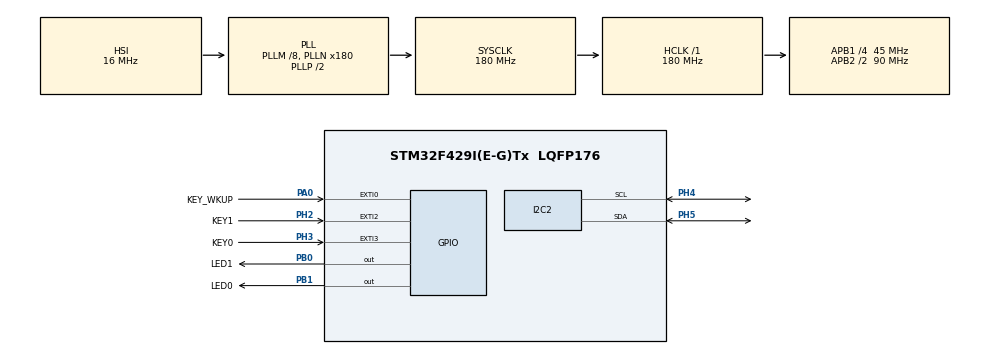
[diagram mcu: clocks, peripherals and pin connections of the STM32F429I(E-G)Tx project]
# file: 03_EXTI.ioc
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Mcu.Family=STM32F4
Mcu.Name=STM32F429I(E-G)Tx
Mcu.Package=LQFP176
NVIC.EXTI0_IRQn=true\:2\:0\:true\:false\:true\:true\:true\:true
NVIC.EXTI2_IRQn=true\:2\:0\:true\:false\:true\:true\:true\:true
NVIC.EXTI3_IRQn=true\:2\:0\:true\:false\:true\:true\:true\:true
NVIC.PriorityGroup=NVIC_PRIORITYGROUP_4
PA0/WKUP.GPIO_Label=KEY_WKUP
PA0/WKUP.GPIO_ModeDefaultEXTI=GPIO_MODE_IT_RISING
PA0/WKUP.GPIO_PuPd=GPIO_PULLDOWN
PA0/WKUP.Signal=GPXTI0
PA13.Mode=Serial_Wire
PA13.Signal=SYS_JTMS-SWDIO
PA14.Mode=Serial_Wire
PA14.Signal=SYS_JTCK-SWCLK
PB0.GPIO_Label=LED1
PB0.GPIO_PuPd=GPIO_PULLUP
PB0.Signal=GPIO_Output
PB1.GPIO_Label=LED0
PB1.GPIO_PuPd=GPIO_PULLUP
PB1.GPIO_Speed=GPIO_SPEED_FREQ_LOW
PB1.Signal=GPIO_Output
PC14/OSC32_IN.Mode=LSE-External-Oscillator
PC14/OSC32_IN.Signal=RCC_OSC32_IN
PC15/OSC32_OUT.Mode=LSE-External-Oscillator
PC15/OSC32_OUT.Signal=RCC_OSC32_OUT
PH0/OSC_IN.Mode=HSE-External-Oscillator
PH0/OSC_IN.Signal=RCC_OSC_IN
PH1/OSC_OUT.Mode=HSE-External-Oscillator
PH1/OSC_OUT.Signal=RCC_OSC_OUT
PH2.GPIO_Label=KEY1
PH2.GPIO_ModeDefaultEXTI=GPIO_MODE_IT_FALLING
PH2.GPIO_PuPd=GPIO_PULLUP
PH2.Signal=GPXTI2
PH3.GPIO_Label=KEY0
PH3.GPIO_ModeDefaultEXTI=GPIO_MODE_IT_FALLING
PH3.GPIO_PuPd=GPIO_PULLUP
PH3.Signal=GPXTI3
PH4.GPIO_Pu=GPIO_PULLUP
PH4.Mode=I2C
PH4.Signal=I2C2_SCL
PH5.GPIO_Pu=GPIO_PULLUP
PH5.Mode=I2C
PH5.Signal=I2C2_SDA
ProjectManager.HeapSize=0x200
ProjectManager.StackSize=0x400
ProjectManager.TargetToolchain=STM32CubeIDE
RCC.48MHZClocksFreq_Value=90000000
RCC.AHBFreq_Value=180000000
RCC.APB1CLKDivider=RCC_HCLK_DIV4
RCC.APB1Freq_Value=45000000
RCC.APB1TimFreq_Value=90000000
RCC.APB2CLKDivider=RCC_HCLK_DIV2
RCC.APB2Freq_Value=90000000
RCC.APB2TimFreq_Value=180000000
RCC.CortexFreq_Value=180000000
RCC.HCLKFreq_Value=180000000
RCC.HSE_VALUE=25000000
RCC.HSI_VALUE=16000000
RCC.PLLM=8
RCC.PLLN=180
RCC.SYSCLKFreq_VALUE=180000000
RCC.SYSCLKSource=RCC_SYSCLKSOURCE_PLLCLK
RCC.VCOOutputFreq_Value=360000000
board=custom

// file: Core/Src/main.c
/* USER CODE BEGIN Header */
/**
  ******************************************************************************
  * @file           : main.c
  * @brief          : Main program body
  ******************************************************************************
  * @attention
  *
  * Copyright (c) 2025 STMicroelectronics.
  * All rights reserved.
  *
  * This software is licensed under terms that can be found in the LICENSE file
  * in the root directory of this software component.
  * If no LICENSE file comes with this software, it is provided AS-IS.
  *
  ******************************************************************************
  */
/* USER CODE END Header */
#include "main.h"
#include "i2c.h"
#include "gpio.h"
#include "buzzer.h"

/* USER CODE BEGIN PD */
#define KEY1    HAL_GPIO_ReadPin(KEY1_GPIO_Port, KEY1_Pin)
#define KEY_WKUP HAL_GPIO_ReadPin(KEY_WKUP_GPIO_Port, KEY_WKUP_Pin)
#define KEY0    HAL_GPIO_ReadPin(KEY0_GPIO_Port, KEY0_Pin)
/* USER CODE END PD */

void SystemClock_Config(void);

/* USER CODE BEGIN 0 */
void HAL_GPIO_EXTI_Callback(uint16_t GPIO_Pin){
	HAL_Delay(10);
	switch(GPIO_Pin)
	{
	case KEY_WKUP_Pin:
		if(KEY_WKUP==GPIO_PIN_SET){
			Buzzer_Toggle();
			break;
		}
	case KEY1_Pin:
		if(KEY1==GPIO_PIN_RESET){
			HAL_GPIO_TogglePin(LED1_GPIO_Port, LED1_Pin);
			break;
		}
	case KEY0_Pin:
		if(KEY0==0){
			HAL_GPIO_TogglePin(LED0_GPIO_Port, LED0_Pin);
			break;
		}
	}
}
/* USER CODE END 0 */

int main(void)
{

  /* MCU Configuration--------------------------------------------------------*/

  /* Reset of all peripherals, Initializes the Flash interface and the Systick. */
  HAL_Init();

  /* Configure the system clock */
  SystemClock_Config();

  /* Initialize all configured peripherals */

  MX_GPIO_Init();
  MX_I2C2_Init();
  Buzzer_Init();

  /* Infinite loop */
  while (1)
  {

  }
}

void SystemClock_Config(void)
{
  RCC_OscInitTypeDef RCC_OscInitStruct = {0};
  RCC_ClkInitTypeDef RCC_ClkInitStruct = {0};

  /** Configure the main internal regulator output voltage
  */
  __HAL_RCC_PWR_CLK_ENABLE();
  __HAL_PWR_VOLTAGESCALING_CONFIG(PWR_REGULATOR_VOLTAGE_SCALE1);

  /** Initializes the RCC Oscillators according to the specified parameters
  * in the RCC_OscInitTypeDef structure.
  */
  RCC_OscInitStruct.OscillatorType = RCC_OSCILLATORTYPE_HSI;
  RCC_OscInitStruct.HSIState = RCC_HSI_ON;
  RCC_OscInitStruct.HSICalibrationValue = RCC_HSICALIBRATION_DEFAULT;
  RCC_OscInitStruct.PLL.PLLState = RCC_PLL_ON;
  RCC_OscInitStruct.PLL.PLLSource = RCC_PLLSOURCE_HSI;
  RCC_OscInitStruct.PLL.PLLM = 8;
  RCC_OscInitStruct.PLL.PLLN = 180;
  RCC_OscInitStruct.PLL.PLLP = RCC_PLLP_DIV2;
  RCC_OscInitStruct.PLL.PLLQ = 4;
  if (HAL_RCC_OscConfig(&RCC_OscInitStruct) != HAL_OK)
  {
    Error_Handler();
  }

  /** Activate the Over-Drive mode
  */
  if (HAL_PWREx_EnableOverDrive() != HAL_OK)
  {
    Error_Handler();
  }

  /** Initializes the CPU, AHB and APB buses clocks
  */
  RCC_ClkInitStruct.ClockType = RCC_CLOCKTYPE_HCLK|RCC_CLOCKTYPE_SYSCLK
                              |RCC_CLOCKTYPE_PCLK1|RCC_CLOCKTYPE_PCLK2;
  RCC_ClkInitStruct.SYSCLKSource = RCC_SYSCLKSOURCE_PLLCLK;
  RCC_ClkInitStruct.AHBCLKDivider = RCC_SYSCLK_DIV1;
  RCC_ClkInitStruct.APB1CLKDivider = RCC_HCLK_DIV4;
  RCC_ClkInitStruct.APB2CLKDivider = RCC_HCLK_DIV2;

  if (HAL_RCC_ClockConfig(&RCC_ClkInitStruct, FLASH_LATENCY_5) != HAL_OK)
  {
    Error_Handler();
  }
}

void Error_Handler(void)
{
  __disable_irq();
  while (1)
  {
  }
}
